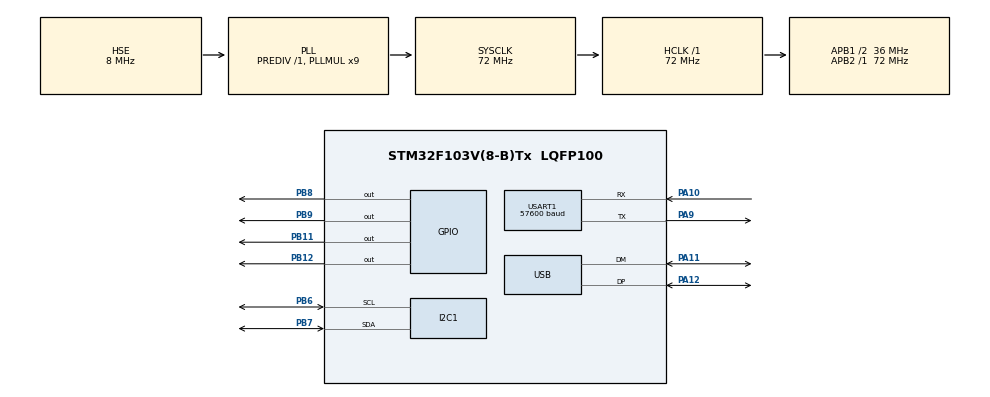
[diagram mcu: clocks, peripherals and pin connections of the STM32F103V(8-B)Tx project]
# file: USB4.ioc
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I2C1.I2C_Mode=I2C_Fast
Mcu.Family=STM32F1
Mcu.Name=STM32F103V(8-B)Tx
Mcu.Package=LQFP100
NVIC.PriorityGroup=NVIC_PRIORITYGROUP_4
NVIC.USART1_IRQn=true\:0\:0\:false\:false\:true\:true\:true\:true
NVIC.USB_LP_CAN1_RX0_IRQn=true\:0\:0\:false\:false\:true\:true\:true\:true
OSC_IN.Mode=HSE-External-Oscillator
OSC_IN.Signal=RCC_OSC_IN
OSC_OUT.Mode=HSE-External-Oscillator
OSC_OUT.Signal=RCC_OSC_OUT
PA10.Mode=Multiprocessor_communication
PA10.Signal=USART1_RX
PA11.Mode=Device
PA11.Signal=USB_DM
PA12.Mode=Device
PA12.Signal=USB_DP
PA13.Mode=JTAG_5_pins
PA13.Signal=SYS_JTMS-SWDIO
PA14.Mode=JTAG_5_pins
PA14.Signal=SYS_JTCK-SWCLK
PA15.Mode=JTAG_5_pins
PA15.Signal=SYS_JTDI
PA9.Mode=Multiprocessor_communication
PA9.Signal=USART1_TX
PB11.Signal=GPIO_Output
PB12.Signal=GPIO_Output
PB3.Mode=JTAG_5_pins
PB3.Signal=SYS_JTDO-TRACESWO
PB4.Mode=JTAG_5_pins
PB4.Signal=SYS_NJTRST
PB6.GPIO_Pu=GPIO_PULLUP
PB6.Mode=I2C
PB6.Signal=I2C1_SCL
PB7.GPIO_Pu=GPIO_PULLUP
PB7.Mode=I2C
PB7.Signal=I2C1_SDA
PB8.GPIO_ModeDefaultOutputPP=GPIO_MODE_OUTPUT_PP
PB8.Signal=GPIO_Output
PB9.Signal=GPIO_Output
PC14-OSC32_IN.Mode=LSE-External-Oscillator
PC14-OSC32_IN.Signal=RCC_OSC32_IN
PC15-OSC32_OUT.Mode=LSE-External-Oscillator
PC15-OSC32_OUT.Signal=RCC_OSC32_OUT
ProjectManager.HeapSize=0x300
ProjectManager.StackSize=0x400
ProjectManager.TargetToolchain=STM32CubeIDE
RCC.ADCPresc=RCC_ADCPCLK2_DIV6
RCC.AHBFreq_Value=72000000
RCC.APB1CLKDivider=RCC_HCLK_DIV2
RCC.APB1Freq_Value=36000000
RCC.APB1TimFreq_Value=72000000
RCC.APB2Freq_Value=72000000
RCC.APB2TimFreq_Value=72000000
RCC.HCLKFreq_Value=72000000
RCC.PLLMUL=RCC_PLL_MUL9
RCC.SYSCLKFreq_VALUE=72000000
RCC.SYSCLKSource=RCC_SYSCLKSOURCE_PLLCLK
RCC.USBFreq_Value=48000000
RCC.USBPrescaler=RCC_USBCLKSOURCE_PLL_DIV1_5
USART1.BaudRate=57600
USART1.Mode=MODE_TX_RX
USART1.VirtualMode=VM_ASYNC
USART1.WakeUpMethode=UART_WAKEUPMETHOD_IDLELINE
USB_DEVICE.APP_RX_DATA_SIZE=64
USB_DEVICE.APP_TX_DATA_SIZE=64
USB_DEVICE.CLASS_NAME_FS=CDC
USB_DEVICE.USBD_SELF_POWERED=0
USB_DEVICE.VirtualMode=Cdc
USB_DEVICE.VirtualModeFS=Cdc_FS
VP_USB_DEVICE_VS_USB_DEVICE_CDC_FS.Mode=CDC_FS
board=custom

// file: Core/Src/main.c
/* USER CODE BEGIN Header */
/**
  ******************************************************************************
  * @file           : main.c
  * @brief          : Main program body
  ******************************************************************************
  * @attention
  *
  * <h2><center>&copy; Copyright (c) 2021 STMicroelectronics.
  * All rights reserved.</center></h2>
  *
  * This software component is licensed by ST under Ultimate Liberty license
  * SLA0044, the "License"; You may not use this file except in compliance with
  * the License. You may obtain a copy of the License at:
  *                             www.st.com/SLA0044
  *
  ******************************************************************************
  */
/* USER CODE END Header */
#include "main.h"
#include "usb_device.h"

/* USER CODE BEGIN Includes */
#include "usbd_cdc_if.h"
#include "math.h"
/* USER CODE END Includes */

/* USER CODE BEGIN PTD */
#define PB8 *((volatile unsigned long*) 0x422181A0)
#define PB9 *((volatile unsigned long*) 0x422181A4)
#define PA0 *((volatile unsigned long*) 0x42210100)
#define PA1 *((volatile unsigned long*) 0x42210104)

/* USER CODE END PTD */

I2C_HandleTypeDef hi2c1;

UART_HandleTypeDef huart1;

/* USER CODE BEGIN PV */
double sensor_gap[6]; //cm
double sensor_gap2[7]; //cm
double distance;  //cm
double distance_array[7];  //cm
double distance_array2[7];  //cm
double wartosc;
double kat_tab[7]={36.87, 26.57, 14.04, 0.00, 14.04, 26.57, 36.87};
int offset[7]={20 ,15,12,9,8,13,20};
double Area_t=0.0; //cm2
double szer;
volatile double Volume=0.0; //cm3
uint8_t byte;
double wysokosc[2]; //cm
char DataTx44[50];
char DataTx33[50];
char DataTx[50];
int czujnik=0;
int checksum;
double calc;
int size;
int komunikat=0;
int start=0;
int scan_result=0;
int usb_tx3, usb_tx4=0;
/* USER CODE END PV */

void SystemClock_Config(void);
static void MX_GPIO_Init(void);
static void MX_I2C1_Init(void);
static void MX_USART1_UART_Init(void);
/* USER CODE BEGIN PFP */
int calculate_CheckSum(char*, int);
int pomiar(uint8_t adr);
int scan(void);
void zeruj(void);
void zeruj2(char * tab, int n);
int rozmiar(char * tab, int n);
void USB_tx(void);
void dane(void);
void obliczenia(void);
/* USER CODE END PFP */

int main(void)
{

  /* MCU Configuration--------------------------------------------------------*/

  /* Reset of all peripherals, Initializes the Flash interface and the Systick. */
  HAL_Init();

  /* Configure the system clock */
  SystemClock_Config();

  /* Initialize all configured peripherals */
  MX_GPIO_Init();
  MX_USB_DEVICE_Init();
  MX_I2C1_Init();
  MX_USART1_UART_Init();

  /* Infinite loop */
  /* USER CODE BEGIN WHILE */
	//strcat(DataTx11,"$");
	//strcat(DataTx11,"fix");
	//strcat(DataTx11,"*");
	//strcat(DataTx22,"$");
	//strcat(DataTx22,"nofix");
	//strcat(DataTx22,"*");
	strcat(DataTx33,"$");
	strcat(DataTx33,"fault");
	strcat(DataTx33,"*");
  while (1)
  {
	//uruchomienie / zatrzymanie pomiarow przyciskiem
	if (PA0==0)
		{
		start=start^1;
		HAL_Delay(500);
		while (PA0==0);
		}
	//przelaczenie danych z pola przekroju na pomiar 1 czujnika - przyciskiem
	if (PA1==0)
		{
		czujnik=czujnik^1;
		HAL_Delay(500);
		while (PA1==1);
		}
	//pomiar z 7 czujnik�w i obliczenia
	obliczenia();
	//jesli start i nie ma bledow pomiaru to ptzygotuj dane do wyslania
	if (scan_result!=-1 && start)
		dane();
	//komunikat o bledzie odczytu dowolnego czujnika
	if ((komunikat==0) && (scan_result==-1))
					{
						komunikat=1;
						zeruj();
						//dlugosc[0]=dlugosc[1];
						//szerokosc[0]=szerokosc[1];
						scan_result=0;
						usb_tx3=1;
					}
	//wyslanie danych po USB
	if (start)
		USB_tx();

    /* USER CODE END WHILE */

  }
}

void SystemClock_Config(void)
{
  RCC_OscInitTypeDef RCC_OscInitStruct = {0};
  RCC_ClkInitTypeDef RCC_ClkInitStruct = {0};
  RCC_PeriphCLKInitTypeDef PeriphClkInit = {0};

  /** Initializes the RCC Oscillators according to the specified parameters
  * in the RCC_OscInitTypeDef structure.
  */
  RCC_OscInitStruct.OscillatorType = RCC_OSCILLATORTYPE_HSE;
  RCC_OscInitStruct.HSEState = RCC_HSE_ON;
  RCC_OscInitStruct.HSEPredivValue = RCC_HSE_PREDIV_DIV1;
  RCC_OscInitStruct.HSIState = RCC_HSI_ON;
  RCC_OscInitStruct.PLL.PLLState = RCC_PLL_ON;
  RCC_OscInitStruct.PLL.PLLSource = RCC_PLLSOURCE_HSE;
  RCC_OscInitStruct.PLL.PLLMUL = RCC_PLL_MUL9;
  if (HAL_RCC_OscConfig(&RCC_OscInitStruct) != HAL_OK)
  {
    Error_Handler();
  }

  /** Initializes the CPU, AHB and APB buses clocks
  */
  RCC_ClkInitStruct.ClockType = RCC_CLOCKTYPE_HCLK|RCC_CLOCKTYPE_SYSCLK
                              |RCC_CLOCKTYPE_PCLK1|RCC_CLOCKTYPE_PCLK2;
  RCC_ClkInitStruct.SYSCLKSource = RCC_SYSCLKSOURCE_PLLCLK;
  RCC_ClkInitStruct.AHBCLKDivider = RCC_SYSCLK_DIV1;
  RCC_ClkInitStruct.APB1CLKDivider = RCC_HCLK_DIV2;
  RCC_ClkInitStruct.APB2CLKDivider = RCC_HCLK_DIV1;

  if (HAL_RCC_ClockConfig(&RCC_ClkInitStruct, FLASH_LATENCY_2) != HAL_OK)
  {
    Error_Handler();
  }
  PeriphClkInit.PeriphClockSelection = RCC_PERIPHCLK_USB;
  PeriphClkInit.UsbClockSelection = RCC_USBCLKSOURCE_PLL_DIV1_5;
  if (HAL_RCCEx_PeriphCLKConfig(&PeriphClkInit) != HAL_OK)
  {
    Error_Handler();
  }
}

static void MX_I2C1_Init(void)
{

  hi2c1.Instance = I2C1;
  hi2c1.Init.ClockSpeed = 400000;
  hi2c1.Init.DutyCycle = I2C_DUTYCYCLE_2;
  hi2c1.Init.OwnAddress1 = 0;
  hi2c1.Init.AddressingMode = I2C_ADDRESSINGMODE_7BIT;
  hi2c1.Init.DualAddressMode = I2C_DUALADDRESS_DISABLE;
  hi2c1.Init.OwnAddress2 = 0;
  hi2c1.Init.GeneralCallMode = I2C_GENERALCALL_DISABLE;
  hi2c1.Init.NoStretchMode = I2C_NOSTRETCH_DISABLE;
  if (HAL_I2C_Init(&hi2c1) != HAL_OK)
  {
    Error_Handler();
  }

}

static void MX_USART1_UART_Init(void)
{

  huart1.Instance = USART1;
  huart1.Init.BaudRate = 57600;
  huart1.Init.WordLength = UART_WORDLENGTH_8B;
  huart1.Init.StopBits = UART_STOPBITS_1;
  huart1.Init.Parity = UART_PARITY_NONE;
  huart1.Init.Mode = UART_MODE_TX_RX;
  huart1.Init.HwFlowCtl = UART_HWCONTROL_NONE;
  huart1.Init.OverSampling = UART_OVERSAMPLING_16;
  if (HAL_MultiProcessor_Init(&huart1, 0, UART_WAKEUPMETHOD_IDLELINE) != HAL_OK)
  {
    Error_Handler();
  }

}

static void MX_GPIO_Init(void)
{
  GPIO_InitTypeDef GPIO_InitStruct = {0};

  /* GPIO Ports Clock Enable */
  __HAL_RCC_GPIOC_CLK_ENABLE();
  __HAL_RCC_GPIOB_CLK_ENABLE();
  __HAL_RCC_GPIOA_CLK_ENABLE();

  /*Configure GPIO pin Output Level */
  HAL_GPIO_WritePin(GPIOB, GPIO_PIN_11|GPIO_PIN_12|GPIO_PIN_8|GPIO_PIN_9, GPIO_PIN_RESET);

  /*Configure GPIO pins : PB11 PB12 PB8 PB9 */
  GPIO_InitStruct.Pin = GPIO_PIN_11|GPIO_PIN_12|GPIO_PIN_8|GPIO_PIN_9;
  GPIO_InitStruct.Mode = GPIO_MODE_OUTPUT_PP;
  GPIO_InitStruct.Pull = GPIO_NOPULL;
  GPIO_InitStruct.Speed = GPIO_SPEED_FREQ_LOW;
  HAL_GPIO_Init(GPIOB, &GPIO_InitStruct);

}

/* USER CODE BEGIN 4 */

		int calculate_CheckSum(char * tab, int n)
		{
			int checksum=tab[0];
			for(int i=1;i<n;i++)
					{
					checksum=checksum^tab[i];
					}
			return checksum;
		}

	int pomiar(uint8_t adr)
			{
				uint8_t value1=0x04;
				uint8_t value2;
				uint8_t low, high=0x00;

				uint16_t wynik;
				HAL_StatusTypeDef OK;
				//wyslanie komendy pomiaru
				OK=HAL_I2C_Mem_Write(&hi2c1, adr<<1, 0x00, I2C_MEMADD_SIZE_8BIT, &value1, 0x1, 100);
				if (OK!=HAL_OK)
					{return -1;};
				do
					{
					//odcyztywanie flagi zakonczenie pomiaru
					OK=HAL_I2C_Mem_Read(&hi2c1, adr<<1, 0x01, I2C_MEMADD_SIZE_8BIT, &value2, 0x1, 100);
					if (OK!=HAL_OK)
						{return -1;};
					}
				while((value2 & 0x01)!=0x00);
				//odczytanie mlodszego bajtu wyniku
				OK=HAL_I2C_Mem_Read(&hi2c1, adr<<1, 0x10, I2C_MEMADD_SIZE_8BIT, &low, 0x1, 100);
				if (OK!=HAL_OK)
					{return -1;};
				//odczytanie starszego bajtu wyniku
				OK=HAL_I2C_Mem_Read(&hi2c1, adr<<1, 0x11, I2C_MEMADD_SIZE_8BIT, &high, 0x1, 100);
				if (OK!=HAL_OK)
					{	return -1;};
				wynik= (((uint16_t) high)<<8)+ (uint16_t) low+16;
				return wynik;
			}

		int scan (void)
			{
				int value;
				int index;
				int blad=0;
				uint8_t i=0;
				for(i=0x63;i<0x6A;i++)
					{
					//odczytanie pomiaru z czujnika
					value=pomiar(i);
					index=i-0x63;
					if (value==-1)
						{
						blad=1;
						distance_array[index]=0;
						}
					else
						//dodatnie do pomiaru odleglosci czujnika od srodka okregu krzywizny glowicy
						distance_array[index]=(double)value+offset[index];
					};
					if (blad==1)
						return -1;
				else
						return 0;
			}

		void zeruj(void)
			{
				Area_t=0;
				Volume=0.0;
			}

		void zeruj2(char * tab, int n)
			{
				for(int i=0;i<n;i++)
					tab[i]=0;
			}

		int rozmiar(char * tab, int n)
		{
			int i;
			for(i=0;i<n;i++)
				if (tab[i]=='*')
					return (i+1);
			return i;
		}

		void USB_tx(void)
		{
			volatile int R;
			PB9=PB9^1;
				if (usb_tx3)
					{
					R=rozmiar(DataTx33,50);
					if (R<50)
						{
						checksum=calculate_CheckSum(DataTx33, R);
						strcat(DataTx33,(char*) &checksum);
						DataTx33[R+1]=0x0A;
						CDC_Transmit_FS((uint8_t*)DataTx33,R+2);
						usb_tx3=0;
						}
					}
				if (usb_tx4)
					{
					R=rozmiar(DataTx44,50);
					if (R<50)
						{
						checksum=calculate_CheckSum(DataTx44, R);
						strcat(DataTx44,(char*) &checksum);
						DataTx44[R+1]=0x0A;
						CDC_Transmit_FS((uint8_t*)DataTx44,R+2);
						usb_tx4=0;
						}
					}
		}

		void dane(void)
		{
			int c;
			usb_tx4=0;
			zeruj2(DataTx44,50);
			zeruj2(DataTx,50);
			DataTx44[0]='$';
			c=snprintf(DataTx,50,"%.2f",fabs(Volume));
			if (c<0 || c>20)
				return;
			if (DataTx[0]=='-')
				return;
			strcat(DataTx44,DataTx);
			strcat(DataTx44,"*");
			usb_tx4=1;
			return;
		};

void obliczenia (void)
	{
			double alfa;
				//jesli start to wykonaj pomiar i oblicz
				if (start)
					{
					//wykoannie odczytu z 7 czujnikow
					scan_result=scan();
					//jesli nie ma bledow odczytu to oblicz
						if (scan_result!=-1)
							{
							if (czujnik==1)
								Volume=distance_array[3];
							komunikat=0;
							alfa=0.017453277*kat_tab[0]; //kat alfa
				      for(int i=0;i<2;i++)
								wysokosc[i]=cos(alfa)*(distance_array[6*i]); //wysokosc H1 i H7 z 1 i 7 czujnika
							szer=(wysokosc[0]-wysokosc[1])/(sin(alfa)*(distance_array[0]+distance_array[6])); //odleglosc punktu pomiaru 1 i 7 czujnika od osi symetrii
							for(int i=0;i<6;i++)
								sensor_gap[i]=fabs(distance_array[i]*sin(0.01745327*kat_tab[i])-distance_array[i+1]*sin(0.01745327*kat_tab[i+1])); //odleglosci pomiedzy punktami pomiaru w kierunku prostopadlym do osi symetrii
							for(int i=1;i<7;i++)
								sensor_gap2[i]=sensor_gap2[i-1]+sensor_gap[i-1]; //odleglosci pomiedzy punktami pomiaru w kierunku prostopadlym do osi symetrii narastajaco
							for(int i=0;i<7;i++)
								{
								wartosc=wysokosc[0]-sensor_gap2[i]*szer-cos(0.01745327*kat_tab[i])*distance_array[i]; //obliczenie wysokosci sianokoasu w punktach pomiaru
								distance_array2[i]=fabs(wartosc);
								}
							Area_t=0;
							for(int i=0;i<6;i++)
								{
									calc=fabs(distance_array2[i+1]-distance_array2[i]); //odliczenie przyblizonego pola trapezu lub trojkata dla skrajnych pomiarow
									Area_t=Area_t+sensor_gap[i]*(distance_array2[i]+0.5*calc);
								}
							if (czujnik==0)
								Volume=fabs(Area_t); //wartosc wysylana - pole przekroju
						}
					}
				else
				{
				zeruj();
				}
	}

/* USER CODE END 4 */

void Error_Handler(void)
{
  /* USER CODE BEGIN Error_Handler_Debug */
  /* User can add his own implementation to report the HAL error return state */
  __disable_irq();
  while (1)
  {
		PB8=PB8^1;
		HAL_Delay(1000);
  }
  /* USER CODE END Error_Handler_Debug */
}
